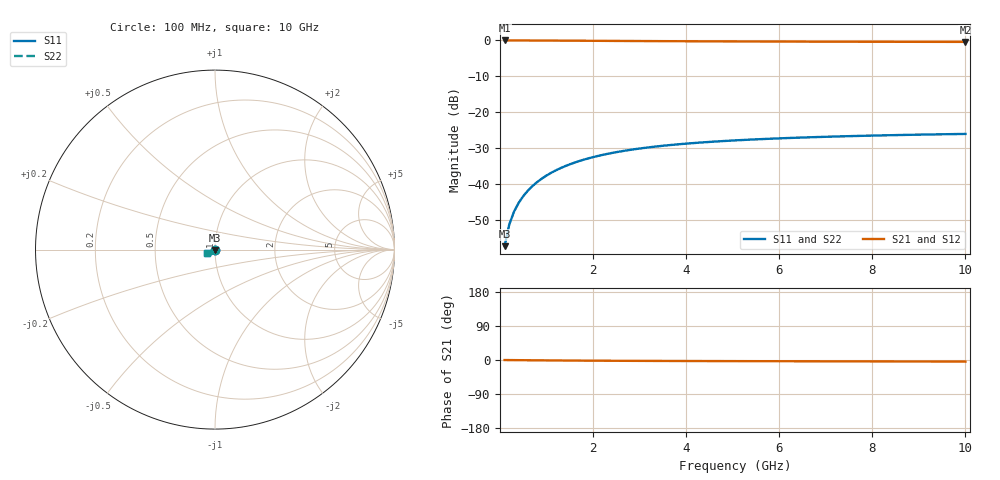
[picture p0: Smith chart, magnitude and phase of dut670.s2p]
! Touchstone file exported from HFSS 2024.1.0
!  File:  C:/UserFiles/LocalFiles/RDL_TSV_Batchsim/temp_TSV1_670_1779794043.aedt
!  Generated:  07:19:15 PM May 26, 2026
!  Design:  TSV1
!  Project:  temp_TSV1_670_1779794043
!  Setup:  Setup1
!  Solution:  Sweep
! Variables:
!  dtsv = 13.83um
!  hbump = 3um
!  htsv = 60.63um
!  lrdl = 252.1521522um
!  p = 40
!  p1 = 44.83um
!  t = 500um
!  trdl = 3um
!  wrdl = 24.89489489um
# GHz S MA R 50.000000
! Terminal data exported
! Port[1] = TSV22_T1
! Port[2] = TSV22_T2
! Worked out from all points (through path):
!   100 points, 100 MHz to 10 GHz, reference 50 ohm
!   highest |S21| = 0.00 dB at 100 MHz (marker M1); lowest = -0.4 dB at 10 GHz (marker M2)
!   lowest |S11| = -57.4 dB at 100 MHz (marker M3), VSWR 1.00, Z = 50 - j0.134 ohm
!   |S11| at or under -10 dB: start of sweep to end of sweep
!   |S22| runs from -57.4 to -26.1 dB; largest |S21 - S12| = 6.1e-15
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0.1  0.001343 -88.4  0.9999 -0.1  0.9999 -0.1  0.001343 -88.4
! Gamma 0 0 0 0
! Port Impedance 50 0 50 0
0.2  0.002696 -91.4  0.9998 -0.2  0.9998 -0.2  0.002696 -91.4
0.3  0.004043 -93.5  0.9996 -0.3  0.9996 -0.3  0.004043 -93.5
0.4  0.005379 -95.3  0.9993 -0.4  0.9993 -0.4  0.005379 -95.3
0.5  0.0067 -97.0  0.999 -0.5  0.999 -0.5  0.0067 -97.0
0.6  0.008006 -98.7  0.9986 -0.6  0.9986 -0.6  0.008006 -98.7
0.7  0.009292 -100.3  0.9981 -0.7  0.9981 -0.7  0.009291 -100.3
0.8  0.01056 -101.8  0.9976 -0.8  0.9976 -0.8  0.01056 -101.8
0.9  0.0118 -103.3  0.997 -0.9  0.997 -0.9  0.0118 -103.3
1.1  0.0142 -106.3  0.9958 -1.1  0.9958 -1.1  0.0142 -106.3
1.4  0.01758 -110.4  0.9936 -1.4  0.9936 -1.4  0.01758 -110.4
1.6  0.01968 -113.0  0.992 -1.5  0.992 -1.5  0.01967 -113.0
1.8  0.02164 -115.4  0.9904 -1.7  0.9904 -1.7  0.02164 -115.4
2.1  0.02436 -118.9  0.988 -1.9  0.988 -1.9  0.02436 -118.9
2.5  0.02757 -123.0  0.9848 -2.1  0.9848 -2.1  0.02757 -123.0
2.9  0.03035 -126.7  0.9818 -2.3  0.9818 -2.3  0.03035 -126.7
3.4  0.03331 -130.7  0.9783 -2.5  0.9783 -2.5  0.03331 -130.7
4.2  0.03712 -136.0  0.9733 -2.7  0.9733 -2.7  0.03712 -136.0
5.1  0.0404 -140.7  0.9687 -3.0  0.9687 -3.0  0.0404 -140.7
6.7  0.04457 -147.0  0.9625 -3.4  0.9625 -3.4  0.04457 -147.0
8.4  0.04757 -151.9  0.958 -3.8  0.958 -3.8  0.04757 -151.9
10  0.04955 -155.4  0.9548 -4.2  0.9548 -4.2  0.04955 -155.4
